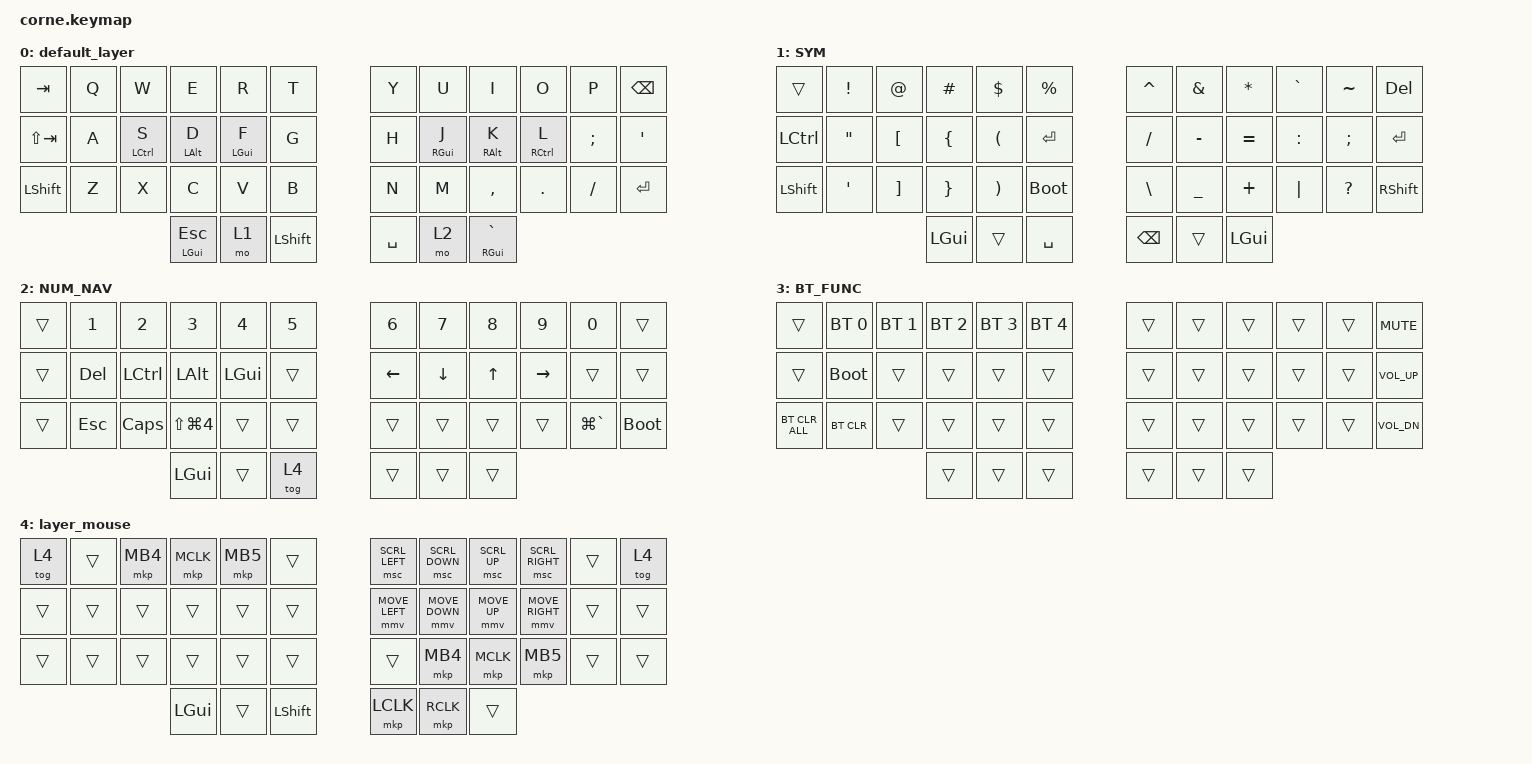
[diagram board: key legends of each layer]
/*
 * Copyright (c) 2020 The ZMK Contributors
 *
 * SPDX-License-Identifier: MIT
 */
/*                                      42 KEY MATRIX / LAYOUT MAPPING

  ╭────────────────────────┬────────────────────────╮ ╭─────────────────────────┬─────────────────────────╮
  │  0   1   2   3   4   5 │  6   7   8   9  10  11 │ │ LT5 LT4 LT3 LT2 LT1 LT0 │ RT0 RT1 RT2 RT3 RT4 RT5 │
  │ 12  13  14  15  16  17 │ 18  19  20  21  22  23 │ │ LM5 LM4 LM3 LM2 LM1 LM0 │ RM0 RM1 RM2 RM3 RM4 RM5 │
  │ 24  25  26  27  28  29 │ 30  31  32  33  34  35 │ │ LB5 LB4 LB3 LB2 LB1 LB0 │ RB0 RB1 RB2 RB3 RB4 RB5 │
  ╰───────────╮ 36  37  38 │ 39  40  41 ╭───────────╯ ╰───────────╮ LH2 LH1 LH0 │ RH0 RH1 RH2 ╭───────────╯
              ╰────────────┴────────────╯                         ╰─────────────┴─────────────╯             */

#define ZMK_POINTING_DEFAULT_MOVE_VAL 2500  // 600
#define ZMK_POINTING_DEFAULT_SCRL_VAL 20    // 10

#include <behaviors.dtsi>
#include <dt-bindings/zmk/bt.h>
#include <dt-bindings/zmk/keys.h>
#include <dt-bindings/zmk/pointing.h>

//#include <dt-bindings/zmk/mouse.h>
// Home row mods macro (CAGS for MacOS)

#define HRML(k1,k2,k3,k4) &thm LCTRL k1  &thm LALT k2  &thm LGUI k3  &thm LSHFT k4
#define HRMR(k1,k2,k3,k4) &thm RSHFT k1  &thm RGUI k2  &thm RALT k3  &thm RCTRL k4

/ {
    behaviors {
        thm: timerless_homerow_mods {
            label = "timerless_homerow_mods";
            compatible = "zmk,behavior-hold-tap";
            #binding-cells = <2>;
            flavor = "balanced";
            tapping-term-ms = <200>;
            quick-tap-ms = <200>; // repeat on quick tap+hold
            require-prior-idle-ms = <120>; // disable hold-tap when typing quickly, remove input delay
            bindings = <&kp>, <&kp>;

            hold-trigger-on-release; // delay positional check until key-release
        };

        mlt: my_layer_tap {
            label = "my_layer_tap";
            compatible = "zmk,behavior-hold-tap";
            #binding-cells = <2>;
            flavor = "balanced";
            tapping-term-ms = <200>;
            quick-tap-ms = <200>; // repeat on tap-into-hold
            require-prior-idle-ms = <120>; // disable hold-tap when typing quickly, remove input delay
            bindings = <&mo>, <&kp>;

            hold-trigger-on-release; // delay positional check until key-release
        };
    };

    combos {
        compatible = "zmk,combos";

        combo_lbkt {
            bindings = <&kp LBKT>;
            key-positions = <28 29>; // vb
            timeout-ms = <50>;
            layers = <0>;
        };

        combo_rbkt {
            bindings = <&kp RBKT>;
            key-positions = <30 31>; // nm
            timeout-ms = <50>;
            layers = <0>;
        };

        combo_lbrc {
            bindings = <&kp LBRC>;
            key-positions = <16 17>; // fg
            timeout-ms = <50>;
            layers = <0>;
        };

        combo_rbrc {
            bindings = <&kp RBRC>;
            key-positions = <18 19>; // hj
            timeout-ms = <50>;
            layers = <0>;
        };

        combo_tab_prev {
            bindings = <&kp LC(LS(TAB))>;
            key-positions = <14 15>; // sd
            timeout-ms = <50>;
            layers = <0>;
        };

        combo_tab_next {
            bindings = <&kp LC(TAB)>;
            key-positions = <15 16>; // df
            timeout-ms = <50>;
            layers = <0>;
        };

        combo_back {
            bindings = <&kp BACKSLASH>;
            key-positions = <33 34>;// ,.
            timeout-ms = <50>;
            layers = <0>;
        };

        combo_todo {
            bindings = <&todo>;
            key-positions = <17 18>; // gh
            layers = <0>;
            timeout-ms = <50>;
        };

        combo_pipe {
            bindings = <&kp PIPE>;
            key-positions = <34 22>;
        };

        combo_tilde {
            bindings = <&kp TILDE>;
            key-positions = <11 10>;
        };

        combo_lpar {
            bindings = <&kp LPAR>;
            key-positions = <4 5>;
        };

        combo_rpar {
            bindings = <&kp RPAR>;
            key-positions = <6 7>;
        };

        combo_grave {
            bindings = <&kp GRAVE>;
            key-positions = <12 13>;
        };

        combo_input {
            bindings = <&kp LA(LC(SPACE))>;
            key-positions = <0 1>;
        };

        combo_colon {
            bindings = <&kp COLON>;
            key-positions = <22 21>;
        };

        combo_at {
            bindings = <&kp AT_SIGN>;
            key-positions = <3 4>;
        };

        combo_hash {
            bindings = <&kp HASH>;
            key-positions = <7 8>;
        };
    };

    macros {
        // - [ ]

        todo: todo {
            compatible = "zmk,behavior-macro";
            label = "TODO";
            #binding-cells = <0>;
            wait-ms = <0>;
            tap-ms = <0>;
            bindings = <&kp MINUS &kp SPACE &kp LBKT &kp SPACE &kp RBKT &kp SPACE>;
        };
    };

    keymap {
        compatible = "zmk,keymap";

        default_layer {
            bindings = <
&kp TAB      &kp Q  &kp W         &kp E         &kp R        &kp T         &kp Y      &kp U        &kp I                &kp O         &kp P     &kp BACKSPACE
&kp LS(TAB)  &kp A  &thm LCTRL S  &thm LALT D   &thm LGUI F  &kp G         &kp H      &thm RGUI J  &thm RALT K          &thm RCTRL L  &kp SEMI  &kp SQT
&kp LSHFT    &kp Z  &kp X         &kp C         &kp V        &kp B         &kp N      &kp M        &kp COMMA            &kp DOT       &kp FSLH  &kp RET
                                  &mt LGUI ESC  &mo 1        &kp LSHIFT    &kp SPACE  &mo 2        &mt RIGHT_GUI GRAVE
            >;
        };

        SYM {
            bindings = <
&trans      &kp EXCL  &kp AT    &kp HASH      &kp DLLR  &kp PRCNT      &kp CARET      &kp AMPS   &kp ASTRK  &kp GRAVE  &kp TILDE  &kp DELETE
&kp LCTRL   &kp DQT   &kp LBKT  &kp LBRC      &kp LPAR  &kp ENTER      &kp SLASH      &kp MINUS  &kp EQUAL  &kp COLON  &kp SEMI   &kp ENTER
&kp LSHIFT  &kp SQT   &kp RBKT  &kp RBRC      &kp RPAR  &bootloader    &kp BSLH       &kp UNDER  &kp PLUS   &kp PIPE   &kp QMARK  &kp RIGHT_SHIFT
                                &kp LEFT_GUI  &trans    &kp SPACE      &kp BACKSPACE  &trans     &kp LGUI
            >;
        };

        NUM_NAV {
            bindings = <
&trans  &kp N1   &kp N2     &kp N3          &kp N4    &kp N5    &kp N6    &kp N7    &kp N8  &kp N9     &kp N0         &trans
&trans  &kp DEL  &kp LCTRL  &kp LALT        &kp LGUI  &trans    &kp LEFT  &kp DOWN  &kp UP  &kp RIGHT  &trans         &trans
&trans  &kp ESC  &kp CAPS   &kp LS(LG(N4))  &trans    &trans    &trans    &trans    &trans  &trans     &kp LG(GRAVE)  &bootloader
                            &kp LEFT_GUI    &trans    &tog 4    &trans    &trans    &trans
            >;
        };

        BT_FUNC {
            bindings = <
&trans          &bt BT_SEL 0  &bt BT_SEL 1  &bt BT_SEL 2  &bt BT_SEL 3  &bt BT_SEL 4    &trans  &trans  &trans  &trans  &trans  &kp K_MUTE
&trans          &bootloader   &trans        &trans        &trans        &trans          &trans  &trans  &trans  &trans  &trans  &kp C_VOL_UP
&bt BT_CLR_ALL  &bt BT_CLR    &trans        &trans        &trans        &trans          &trans  &trans  &trans  &trans  &trans  &kp C_VOL_DN
                                            &trans        &trans        &trans          &trans  &trans  &trans
            >;
        };

        layer_mouse {
            bindings = <
&tog 4  &trans  &mkp MB4  &mkp MCLK  &mkp MB5  &trans       &msc SCRL_LEFT  &msc SCRL_DOWN  &msc SCRL_UP  &msc SCRL_RIGHT  &trans  &tog 4
&trans  &trans  &trans    &trans     &trans    &trans       &mmv MOVE_LEFT  &mmv MOVE_DOWN  &mmv MOVE_UP  &mmv MOVE_RIGHT  &trans  &trans
&trans  &trans  &trans    &trans     &trans    &trans       &trans          &mkp MB4        &mkp MCLK     &mkp MB5         &trans  &trans
                          &kp LGUI   &trans    &kp LSHFT    &mkp LCLK       &mkp RCLK       &trans
            >;
        };
    };

    conditional_layers {
        compatible = "zmk,conditional-layers";

        tri_layer {
            if-layers = <1 2>;
            then-layer = <3>;
        };
    };
};
